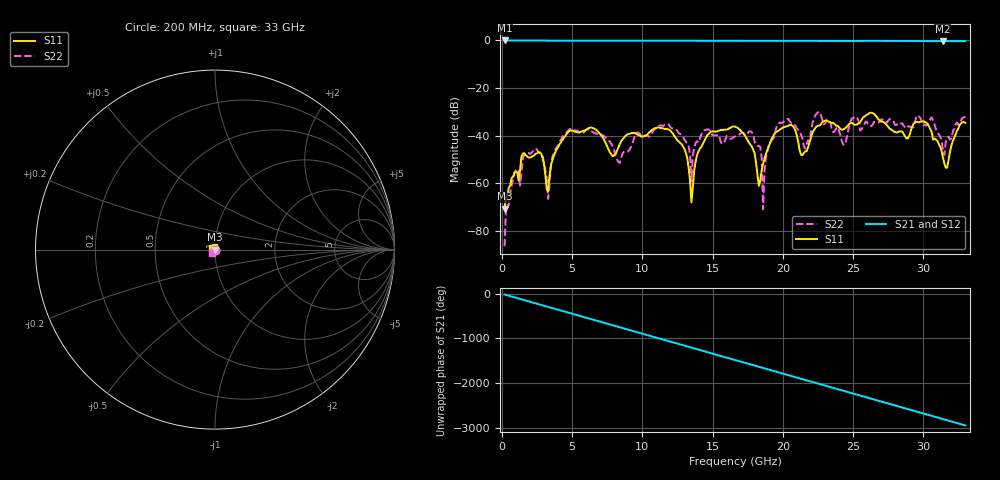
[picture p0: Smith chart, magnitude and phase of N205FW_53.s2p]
# GHZ S RI R 50
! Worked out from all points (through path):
!   329 points, 200 MHz to 33 GHz, reference 50 ohm
!   highest |S21| = -0.02 dB at 200 MHz (marker M1); lowest = -0.3 dB at 31.4 GHz (marker M2)
!   group delay of S21, straight-line fit = 248 ps
!   lowest |S11| = -70.7 dB at 200 MHz (marker M3), VSWR 1.00, Z = 50 - j0.0103 ohm
!   |S11| at or under -10 dB: start of sweep to end of sweep
!   |S22| runs from -86.5 to -30.0 dB; largest |S21 - S12| = 0.0022
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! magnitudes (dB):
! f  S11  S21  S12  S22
! 200 MHz  -70.7  0.0  0.0  -86.5
! 1.6 GHz  -47.4  -0.1  -0.1  -47.9
! 2.9 GHz  -49.5  -0.1  -0.1  -48.5
! 3.3 GHz  -63.4  -0.1  -0.1  -66.6
! 3.8 GHz  -47.1  -0.1  -0.1  -46.1
! 5.7 GHz  -38.3  -0.1  -0.1  -39.1
! 8.4 GHz  -43.6  -0.1  -0.1  -51.6
! 11.2 GHz  -36.7  -0.2  -0.2  -35.9
! 13 GHz  -45.6  -0.2  -0.2  -41.7
! 13.5 GHz  -68.1  -0.2  -0.2  -59.4
! 13.7 GHz  -54.5  -0.2  -0.2  -45.1
! 14.6 GHz  -40.2  -0.2  -0.2  -37.4
! 16.6 GHz  -36.2  -0.2  -0.2  -40.4
! 18.4 GHz  -59.0  -0.2  -0.2  -44.8
! 18.6 GHz  -51.9  -0.2  -0.2  -71.0
! 18.8 GHz  -47.8  -0.2  -0.2  -49.4
! 19.6 GHz  -38.3  -0.2  -0.2  -35.8
! 22.1 GHz  -38.9  -0.2  -0.2  -35.1
! 27.6 GHz  -37.1  -0.2  -0.2  -33.1
! 30.6 GHz  -38.5  -0.3  -0.3  -32.4
! 31.4 GHz  -49.2  -0.3  -0.3  -46.1
! 33 GHz  -34.6  -0.3  -0.3  -32.2
